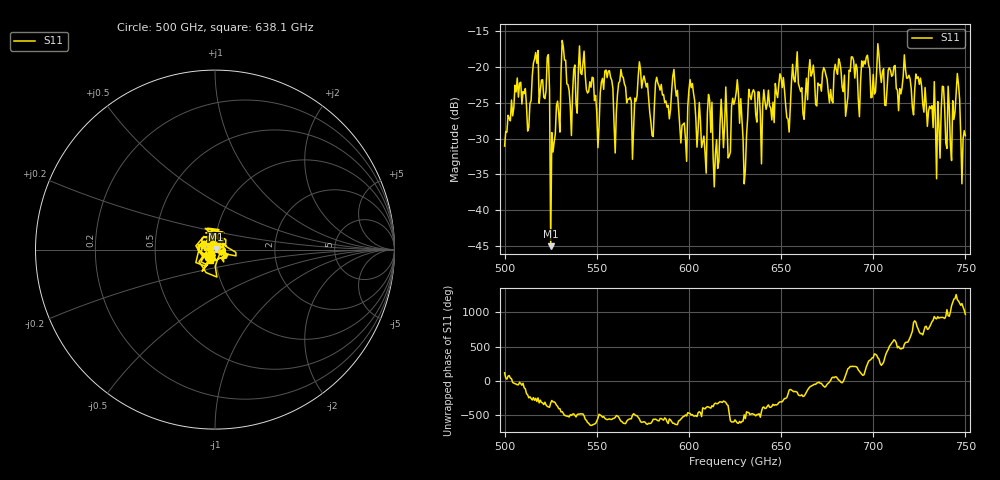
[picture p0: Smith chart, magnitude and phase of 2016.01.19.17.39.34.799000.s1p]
!Created with skrf (http://scikit-rf.org).
# GHz S RI R 50.0
!freq ReS11 ImS11
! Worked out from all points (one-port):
!   401 points, 500 GHz to 750 GHz, reference 50 ohm
!   lowest |S11| = -45.0 dB at 525 GHz (marker M1), VSWR 1.01, Z = 50.4 + j0.361 ohm
!   |S11| at or under -10 dB: start of sweep to end of sweep
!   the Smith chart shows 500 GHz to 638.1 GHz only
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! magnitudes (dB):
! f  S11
! 500 GHz  -31.0
! 506.9 GHz  -21.5
! 513.1 GHz  -28.4
! 516.9 GHz  -18.0
! 523.1 GHz  -18.6
! 525 GHz  -45.0
! 526.2 GHz  -31.9
! 531.2 GHz  -16.3
! 535.6 GHz  -25.5
! 541.9 GHz  -21.1
! 550 GHz  -26.3
! 562.5 GHz  -22.0
! 568.8 GHz  -24.8
! 593.8 GHz  -23.3
! 597.5 GHz  -27.8
! 601.9 GHz  -22.3
! 608.1 GHz  -29.7
! 611.2 GHz  -24.7
! 615 GHz  -30.2
! 625 GHz  -24.6
! 630.6 GHz  -34.4
! 633.8 GHz  -24.6
! 656.2 GHz  -19.6
! 687.5 GHz  -20.6
! 718.8 GHz  -21.5
! 735 GHz  -24.8
! 745.6 GHz  -20.9
! 750 GHz  -29.6
